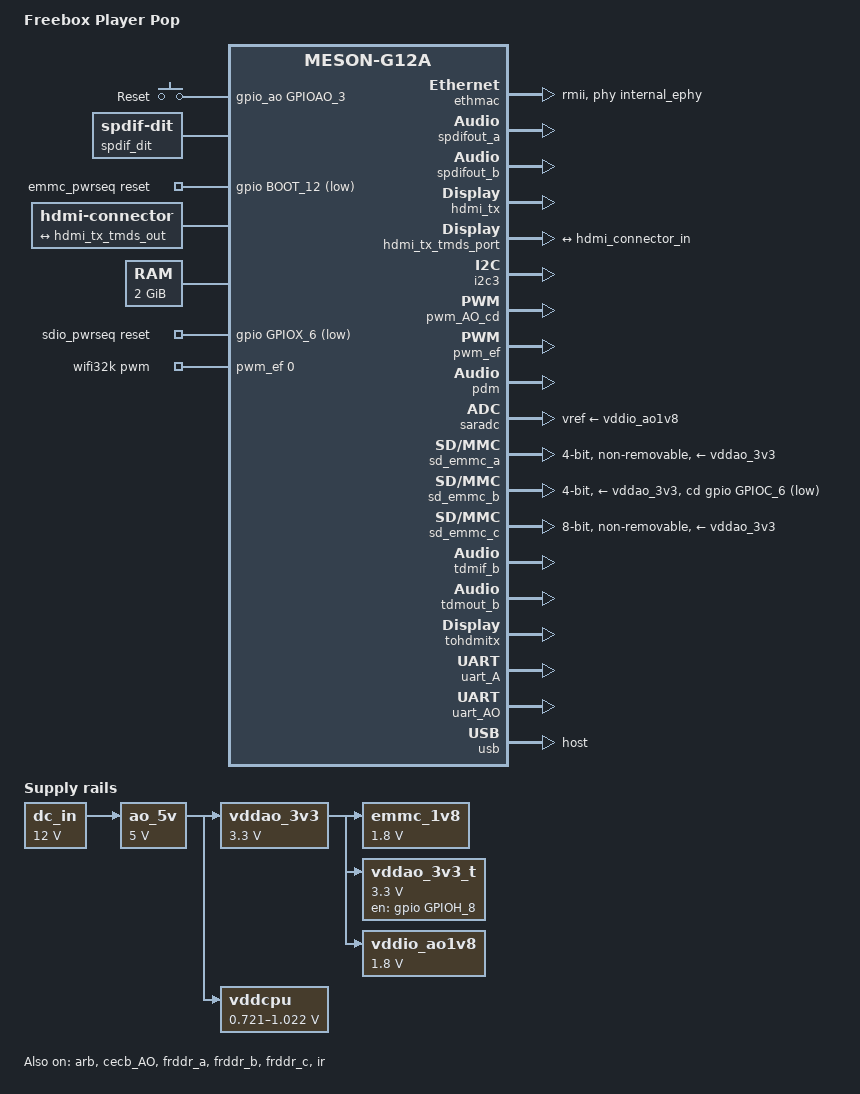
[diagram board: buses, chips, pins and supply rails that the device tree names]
// SPDX-License-Identifier: (GPL-2.0+ OR MIT)
// Copyright (c) 2024 Freebox SAS

/*
 * SEI codename: SEI530FB (based on SEI510)
 * Freebox codename: fbx8am
 * Commercial names: Freebox Pop, Player TV Free 4K
 */

/dts-v1/;

#include "meson-g12a.dtsi"
#include <dt-bindings/gpio/gpio.h>
#include <dt-bindings/input/input.h>
#include <dt-bindings/gpio/meson-g12a-gpio.h>
#include <dt-bindings/sound/meson-g12a-tohdmitx.h>

/ {
	compatible = "freebox,fbx8am", "amlogic,g12a";
	model = "Freebox Player Pop";
	chassis-type = "embedded";

	firmware {
		optee {
			compatible = "linaro,optee-tz";
			method = "smc";
		};
	};

	gpio-keys-polled {
		compatible = "gpio-keys-polled";
		poll-interval = <100>;

		/* Physical user-accessible reset button near USB port */
		power-button {
			label = "Reset";
			linux,code = <BTN_MISC>;
			gpios = <&gpio_ao GPIOAO_3 GPIO_ACTIVE_HIGH>;
		};
	};

	spdif_dit: audio-codec-2 {
		#sound-dai-cells = <0>;
		compatible = "linux,spdif-dit";
		status = "okay";
		sound-name-prefix = "DIT";
	};

	aliases {
		serial0 = &uart_AO;
		ethernet0 = &ethmac;
	};

	chosen {
		stdout-path = "serial0:115200n8";
	};

	emmc_pwrseq: emmc-pwrseq {
		compatible = "mmc-pwrseq-emmc";
		reset-gpios = <&gpio BOOT_12 GPIO_ACTIVE_LOW>;
	};

	hdmi-connector {
		compatible = "hdmi-connector";
		type = "a";

		port {
			hdmi_connector_in: endpoint {
				remote-endpoint = <&hdmi_tx_tmds_out>;
			};
		};
	};

	memory@0 {
		device_type = "memory";
		reg = <0x0 0x0 0x0 0x80000000>;
	};

	ao_5v: regulator-ao-5v {
		compatible = "regulator-fixed";
		regulator-name = "AO_5V";
		regulator-min-microvolt = <5000000>;
		regulator-max-microvolt = <5000000>;
		vin-supply = <&dc_in>;
		regulator-always-on;
	};

	dc_in: regulator-dc-in {
		compatible = "regulator-fixed";
		regulator-name = "DC_IN";
		regulator-min-microvolt = <12000000>;
		regulator-max-microvolt = <12000000>;
		regulator-always-on;
	};

	emmc_1v8: regulator-emmc-1v8 {
		compatible = "regulator-fixed";
		regulator-name = "EMMC_1V8";
		regulator-min-microvolt = <1800000>;
		regulator-max-microvolt = <1800000>;
		vin-supply = <&vddao_3v3>;
		regulator-always-on;
	};

	vddao_3v3: regulator-vddao-3v3 {
		compatible = "regulator-fixed";
		regulator-name = "VDDAO_3V3";
		regulator-min-microvolt = <3300000>;
		regulator-max-microvolt = <3300000>;
		vin-supply = <&ao_5v>;
		regulator-always-on;
	};

	vddao_3v3_t: regulator-vddao-3v3-t {
		compatible = "regulator-fixed";
		regulator-name = "VDDAO_3V3_T";
		regulator-min-microvolt = <3300000>;
		regulator-max-microvolt = <3300000>;
		vin-supply = <&vddao_3v3>;
		gpio = <&gpio GPIOH_8 GPIO_OPEN_DRAIN>;
		enable-active-high;
	};

	vddcpu: regulator-vddcpu {
		/*
		 * SY8120B1ABC DC/DC Regulator.
		 */
		compatible = "pwm-regulator";

		regulator-name = "VDDCPU";
		regulator-min-microvolt = <721000>;
		regulator-max-microvolt = <1022000>;

		pwm-supply = <&ao_5v>;

		pwms = <&pwm_AO_cd 1 1250 0>;
		pwm-dutycycle-range = <100 0>;

		regulator-boot-on;
		regulator-always-on;
	};

	vddio_ao1v8: regulator-vddio-ao1v8 {
		compatible = "regulator-fixed";
		regulator-name = "VDDIO_AO1V8";
		regulator-min-microvolt = <1800000>;
		regulator-max-microvolt = <1800000>;
		vin-supply = <&vddao_3v3>;
		regulator-always-on;
	};

	sdio_pwrseq: sdio-pwrseq {
		compatible = "mmc-pwrseq-simple";
		reset-gpios = <&gpio GPIOX_6 GPIO_ACTIVE_LOW>;
		post-power-on-delay-ms = <10>; /* required for 43752 */
		clocks = <&wifi32k>;
		clock-names = "ext_clock";
	};

	wifi32k: wifi32k {
		compatible = "pwm-clock";
		#clock-cells = <0>;
		clock-frequency = <32768>;
		pwms = <&pwm_ef 0 30518 0>; /* PWM_E at 32.768KHz */
	};

	sound {
		compatible = "amlogic,axg-sound-card";
		model = "fbx8am";
		audio-aux-devs = <&tdmout_b>;
		audio-routing = "TDMOUT_B IN 0", "FRDDR_A OUT 1",
				"TDMOUT_B IN 1", "FRDDR_B OUT 1",
				"TDMOUT_B IN 2", "FRDDR_C OUT 1",
				"TDM_B Playback", "TDMOUT_B OUT",
				"SPDIFOUT_A IN 0", "FRDDR_A OUT 3",
				"SPDIFOUT_A IN 1", "FRDDR_B OUT 3",
				"SPDIFOUT_A IN 2", "FRDDR_C OUT 3";

		clocks = <&clkc CLKID_MPLL2>,
			 <&clkc CLKID_MPLL0>,
			 <&clkc CLKID_MPLL1>;

		assigned-clocks = <&clkc CLKID_MPLL2>,
				  <&clkc CLKID_MPLL0>,
				  <&clkc CLKID_MPLL1>;
		assigned-clock-parents = <0>, <0>, <0>;
		assigned-clock-rates = <294912000>,
				       <270950400>,
				       <393216000>;

		dai-link-0 {
			sound-dai = <&frddr_a>;
		};

		dai-link-1 {
			sound-dai = <&frddr_b>;
		};

		dai-link-2 {
			sound-dai = <&frddr_c>;
		};

		/* 8ch hdmi interface */
		dai-link-3 {
			sound-dai = <&tdmif_b>;
			dai-format = "i2s";
			dai-tdm-slot-tx-mask-0 = <1 1>;
			dai-tdm-slot-tx-mask-1 = <1 1>;
			dai-tdm-slot-tx-mask-2 = <1 1>;
			dai-tdm-slot-tx-mask-3 = <1 1>;
			mclk-fs = <256>;

			codec {
				sound-dai = <&tohdmitx TOHDMITX_I2S_IN_B>;
			};
		};

		/* spdif hdmi or toslink interface */
		dai-link-4 {
			sound-dai = <&spdifout_a>;

			codec-0 {
			sound-dai = <&spdif_dit>;
			};

			codec-1 {
				sound-dai = <&tohdmitx TOHDMITX_SPDIF_IN_A>;
			};
		};

		/* spdif hdmi interface */
		dai-link-5 {
			sound-dai = <&spdifout_b>;

			codec {
				sound-dai = <&tohdmitx TOHDMITX_SPDIF_IN_B>;
			};
		};

		/* hdmi glue */
		dai-link-6 {
			sound-dai = <&tohdmitx TOHDMITX_I2S_OUT>;

			codec {
				sound-dai = <&hdmi_tx>;
			};
		};
	};
};

&arb {
	status = "okay";
};

&cecb_AO {
	pinctrl-0 = <&cec_ao_b_h_pins>;
	pinctrl-names = "default";
	status = "okay";
	hdmi-phandle = <&hdmi_tx>;
};

&clkc_audio {
	status = "okay";
};

&cpu0 {
	cpu-supply = <&vddcpu>;
	operating-points-v2 = <&cpu_opp_table>;
	clocks = <&clkc CLKID_CPU_CLK>;
};

&cpu1 {
	cpu-supply = <&vddcpu>;
	operating-points-v2 = <&cpu_opp_table>;
	clocks = <&clkc CLKID_CPU_CLK>;
};

&cpu2 {
	cpu-supply = <&vddcpu>;
	operating-points-v2 = <&cpu_opp_table>;
	clocks = <&clkc CLKID_CPU_CLK>;
};

&cpu3 {
	cpu-supply = <&vddcpu>;
	operating-points-v2 = <&cpu_opp_table>;
	clocks = <&clkc CLKID_CPU_CLK>;
};

&ethmac {
	status = "okay";
	phy-handle = <&internal_ephy>;
	phy-mode = "rmii";
};

&frddr_a {
	status = "okay";
};

&frddr_b {
	status = "okay";
};

&frddr_c {
	status = "okay";
};

&spdifout_a {
	pinctrl-0 = <&spdif_out_h_pins>;
	pinctrl-names = "default";
	status = "okay";
};

&spdifout_b {
	status = "okay";
};

&hdmi_tx {
	status = "okay";
	pinctrl-0 = <&hdmitx_hpd_pins>, <&hdmitx_ddc_pins>;
	pinctrl-names = "default";
};

&hdmi_tx_tmds_port {
	hdmi_tx_tmds_out: endpoint {
		remote-endpoint = <&hdmi_connector_in>;
	};
};

&i2c3 {
	status = "okay";
	pinctrl-0 = <&i2c3_sda_a_pins>, <&i2c3_sck_a_pins>;
	pinctrl-names = "default";
};

&ir {
	status = "okay";
	pinctrl-0 = <&remote_input_ao_pins>;
	pinctrl-names = "default";
};

&pwm_AO_cd {
	pinctrl-0 = <&pwm_ao_d_e_pins>;
	pinctrl-names = "default";
	status = "okay";
};

&pwm_ef {
	status = "okay";
	pinctrl-0 = <&pwm_e_pins>;
	pinctrl-names = "default";
};

&pdm {
	pinctrl-0 = <&pdm_din0_z_pins>, <&pdm_din1_z_pins>,
		    <&pdm_din2_z_pins>, <&pdm_din3_z_pins>,
		    <&pdm_dclk_z_pins>;
	pinctrl-names = "default";
	status = "okay";
};

&saradc {
	status = "okay";
	vref-supply = <&vddio_ao1v8>;
};

/* SDIO */
&sd_emmc_a {
	status = "okay";
	pinctrl-0 = <&sdio_pins>;
	pinctrl-1 = <&sdio_clk_gate_pins>;
	pinctrl-names = "default", "clk-gate";
	#address-cells = <1>;
	#size-cells = <0>;

	bus-width = <4>;
	cap-sd-highspeed;
	sd-uhs-sdr50;
	max-frequency = <100000000>;

	non-removable;
	disable-wp;

	/* WiFi firmware requires power to be kept while in suspend */
	keep-power-in-suspend;

	mmc-pwrseq = <&sdio_pwrseq>;

	vmmc-supply = <&vddao_3v3>;
	vqmmc-supply = <&vddio_ao1v8>;
};

/* SD card */
&sd_emmc_b {
	status = "okay";
	pinctrl-0 = <&sdcard_c_pins>;
	pinctrl-1 = <&sdcard_clk_gate_c_pins>;
	pinctrl-names = "default", "clk-gate";

	bus-width = <4>;
	cap-sd-highspeed;
	max-frequency = <50000000>;
	disable-wp;

	cd-gpios = <&gpio GPIOC_6 GPIO_ACTIVE_LOW>;
	vmmc-supply = <&vddao_3v3>;
	vqmmc-supply = <&vddao_3v3>;
};

/* eMMC */
&sd_emmc_c {
	status = "okay";
	pinctrl-0 = <&emmc_ctrl_pins>, <&emmc_data_8b_pins>, <&emmc_ds_pins>;
	pinctrl-1 = <&emmc_clk_gate_pins>;
	pinctrl-names = "default", "clk-gate";

	bus-width = <8>;
	cap-mmc-highspeed;
	mmc-ddr-1_8v;
	mmc-hs200-1_8v;
	max-frequency = <200000000>;
	non-removable;
	disable-wp;

	mmc-pwrseq = <&emmc_pwrseq>;
	vmmc-supply = <&vddao_3v3>;
	vqmmc-supply = <&emmc_1v8>;
};

&tdmif_b {
	status = "okay";
};

&tdmout_b {
	status = "okay";
};

&tohdmitx {
	status = "okay";
};

&uart_A {
	status = "okay";
	pinctrl-0 = <&uart_a_pins>, <&uart_a_cts_rts_pins>;
	pinctrl-names = "default";
	uart-has-rtscts;
};

&uart_AO {
	status = "okay";
	pinctrl-0 = <&uart_ao_a_pins>;
	pinctrl-names = "default";
};

&usb {
	status = "okay";
	dr_mode = "host";
};
